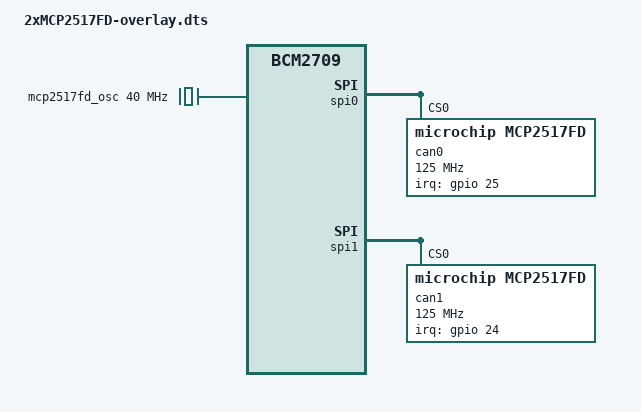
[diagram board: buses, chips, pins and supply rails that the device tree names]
/*
 * Device tree overlay for mcp251x/mcp2517fd on spi0.0
 */

/dts-v1/;
/plugin/;

/ {
    compatible = "brcm,bcm2835", "brcm,bcm2836", "brcm,bcm2708", "brcm,bcm2709";
    /* disable spi-dev for spi0.0 */

    fragment@0{
	target = <&spidev0>;
	__overlay__ {
	    status = "disabled";
	};
    };

    fragment@1{
	target = <&spidev1>;
	__overlay__ {
	    status = "disabled";
	};
    };

    /* the interrupt pin of the can-controller */
    fragment@2 {
        target = <&gpio>;
        __overlay__ {
            can0_int_pins: can0_int_pins {
                brcm,pins = <25>;
                brcm,function = <0>; /* input */
            };
            can1_int_pins: can1_int_pins {
                brcm,pins = <24>;
                brcm,function = <0>; /* input */
            };

        };
    };

    /* the clock/oscillator of the can-controller */
    fragment@3 {
        target-path = "/clocks";
        __overlay__ {
            /* external 40M oscillator of mcp2517fd on SPI0.0 */
            mcp2517fd_osc: mcp2517fd_osc {
                compatible = "fixed-clock";
                #clock-cells = <0>;
                clock-frequency  = <40000000>;
            };
        };
    };

    /* the spi config of the can-controller itself binding everything together */
    fragment@4 {
        target = <&spi0>;
        __overlay__ {
            /* needed to avoid dtc warning */
            #address-cells = <1>;
            #size-cells = <0>;

          status = "okay";
            can0: can@0 {
                reg = <0>;
                pinctrl-names = "default";
         	pinctrl-0 = <&can0_int_pins>;
                compatible = "microchip,mcp2517fd";
                spi-max-frequency = <125000000>;
                interrupt-parent = <&gpio>;
                interrupts = <25 8>; /* IRQ_TYPE_LEVEL_LOW */
                clocks = <&mcp2517fd_osc>;
            };

        };
    };
    /* the spi config of the can-controller itself binding everything together */
    fragment@5 {
        target = <&spi1>;
        __overlay__ {
            /* needed to avoid dtc warning */
            #address-cells = <1>;
            #size-cells = <0>;
 	    status = "okay";
            can1: can@1 {
                reg = <0>;
                pinctrl-names = "default";
         	pinctrl-0 = <&can1_int_pins>;
                compatible = "microchip,mcp2517fd";
                spi-max-frequency = <125000000>;
                interrupt-parent = <&gpio>;
                interrupts = <24 8>; /* IRQ_TYPE_LEVEL_LOW */
                clocks = <&mcp2517fd_osc>;
            };
	};
    };

};
